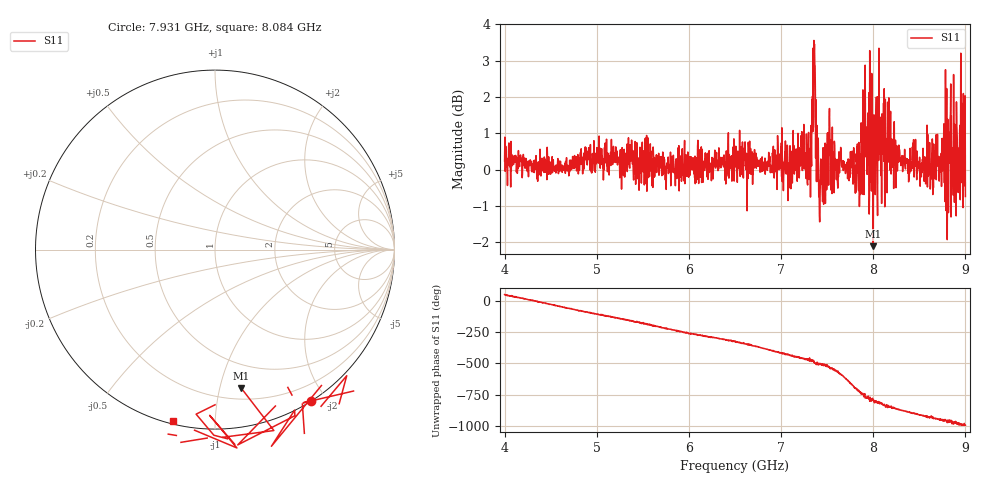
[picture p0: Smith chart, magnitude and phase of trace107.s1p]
! Created with skrf 1.8.0 (http://scikit-rf.org).
# Hz S RI R 50.0
!freq ReS11 ImS11
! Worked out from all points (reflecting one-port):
!   1601 points, 4 GHz to 9 GHz, reference 50 ohm
!   lowest |S11| = -2.1 dB at 8 GHz (marker M1), VSWR 8.28, Z = 14.5 - j58.2 ohm
!   phase of S11 starts at 53 deg and turns -1049 deg over the sweep
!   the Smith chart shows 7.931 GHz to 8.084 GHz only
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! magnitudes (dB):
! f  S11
! 4 GHz  0.2
! 4.625 GHz  -0.1
! 4.897 GHz  0.1
! 5.25 GHz  -0.2
! 5.875 GHz  0.2
! 6.5 GHz  0.1
! 7.125 GHz  0.0
! 7.228 GHz  0.6
! 7.306 GHz  0.3
! 7.356 GHz  3.6
! 7.381 GHz  1.1
! 7.4 GHz  0.2
! 7.431 GHz  0.3
! 7.512 GHz  1.0
! 7.609 GHz  0.3
! 7.75 GHz  -0.2
! 7.828 GHz  0.7
! 7.928 GHz  0.6
! 7.956 GHz  -1.2
! 8 GHz  -2.1
! 8.178 GHz  1.5
! 8.216 GHz  0.6
! 8.375 GHz  0.2
! 8.644 GHz  0.7
! 8.816 GHz  -1.2
! 8.9 GHz  -1.3
! 8.972 GHz  0.0
! 9 GHz  -0.7
